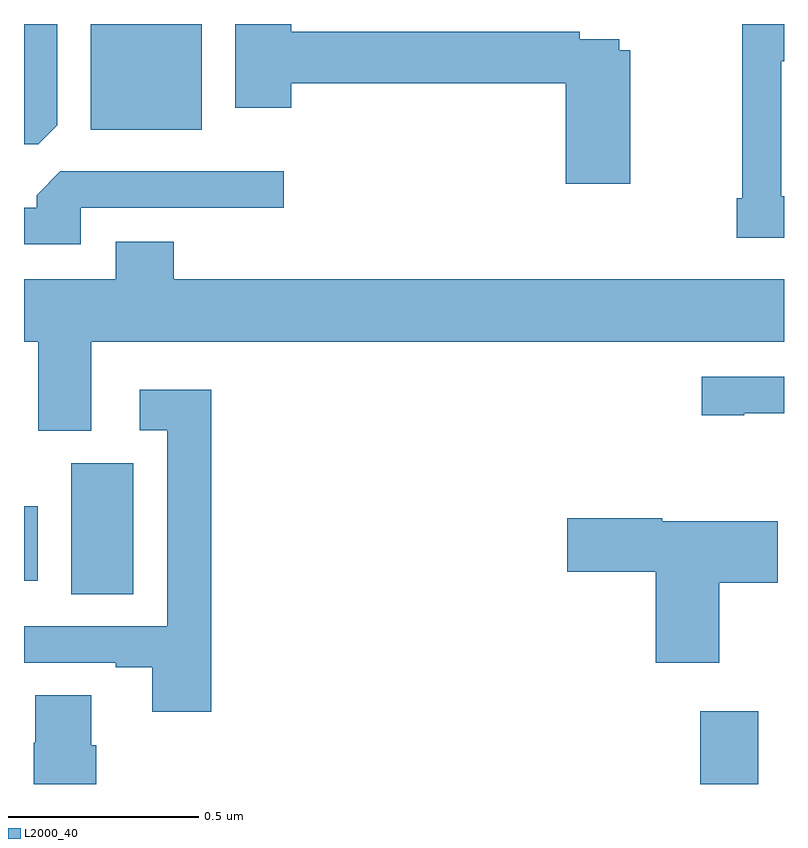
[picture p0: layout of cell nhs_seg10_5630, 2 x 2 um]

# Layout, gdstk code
import gdstk
lib = gdstk.Library(unit=1e-6, precision=1e-09)
def R(c, l, rs):  # rectangles x0, y0, x1, y1
    for r in rs: c.add(gdstk.rectangle(r[:2], r[2:], *l))
def P(c, l, *ps):  # polygons
    for p in ps: c.add(gdstk.Polygon(p, *l))
L2000_40 = (2000, 40)

nhs_seg10_5630 = lib.new_cell('nhs_seg10_5630')
R(nhs_seg10_5630, L2000_40, [(182.78,1284.5,182.932,1284.691), (181.124,1285,181.288,1285.344), (181,1285.035,181.036,1285.231), (181.175,1286.222,181.468,1286.5)])
P(nhs_seg10_5630, L2000_40, [(181.087,1286.233),(181.087,1286.5),(181,1286.5),(181,1286.184),(181.038,1286.184)],
  [(183,1286.047),(182.993,1286.047),(182.993,1286.402),(183,1286.402),(183,1286.5),(182.89,1286.5),(182.89,1286.041),(182.875,1286.041),(182.875,1285.938),(183,1285.938)],
  [(182.596,1286.431),(182.566,1286.431),(182.566,1286.46),(182.462,1286.46),(182.462,1286.48),(181.703,1286.48),(181.703,1286.5),(181.556,1286.5),(181.556,1286.28),(181.703,1286.28),(181.703,1286.344),(182.426,1286.344),(182.426,1286.079),(182.596,1286.079)],
  [(181.149,1286.016),(181.684,1286.016),(181.684,1286.112),(181.095,1286.112),(181.034,1286.05),(181.034,1286.016),(181,1286.016),(181,1285.92),(181.149,1285.92)],
  [(181.177,1285.664),(183,1285.664),(183,1285.828),(181.394,1285.828),(181.394,1285.927),(181.241,1285.927),(181.241,1285.828),(181,1285.828),(181,1285.664),(181.037,1285.664),(181.037,1285.429),(181.177,1285.429)],
  [(182.896,1285.476),(183,1285.476),(183,1285.572),(182.784,1285.572),(182.784,1285.471),(182.896,1285.471)],
  [(181.493,1285.537),(181.305,1285.537),(181.305,1285.431),(181.377,1285.431),(181.377,1284.915),(181,1284.915),(181,1284.819),(181.241,1284.819),(181.241,1284.807),(181.337,1284.807),(181.337,1284.69),(181.493,1284.69)],
  [(182.83,1285.03),(182.983,1285.03),(182.983,1285.192),(182.679,1285.192),(182.679,1285.2),(182.43,1285.2),(182.43,1285.058),(182.663,1285.058),(182.663,1284.819),(182.83,1284.819)],
  [(181.19,1284.602),(181.177,1284.602),(181.177,1284.734),(181.03,1284.734),(181.03,1284.609),(181.025,1284.609),(181.025,1284.5),(181.19,1284.5)])

lib.write_gds('nhs_seg10_5630.gds')
